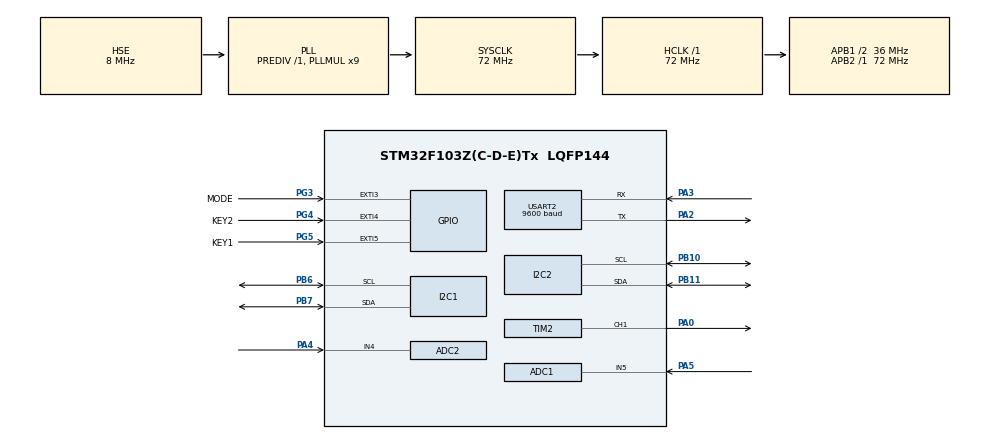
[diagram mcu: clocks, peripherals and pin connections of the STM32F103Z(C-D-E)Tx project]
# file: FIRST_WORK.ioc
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ADC1.Channel-0\#ChannelRegularConversion=ADC_CHANNEL_5
ADC1.ContinuousConvMode=ENABLE
ADC1.NbrOfConversionFlag=1
ADC1.Rank-0\#ChannelRegularConversion=1
ADC1.SamplingTime-0\#ChannelRegularConversion=ADC_SAMPLETIME_1CYCLE_5
ADC1.master=1
ADC2.Channel-2\#ChannelRegularConversion=ADC_CHANNEL_4
ADC2.ContinuousConvMode=ENABLE
ADC2.NbrOfConversionFlag=1
ADC2.Rank-2\#ChannelRegularConversion=1
ADC2.SamplingTime-2\#ChannelRegularConversion=ADC_SAMPLETIME_1CYCLE_5
Dma.Request0=TIM2_CH1
Dma.Request1=USART2_RX
Dma.Request2=USART2_TX
Dma.TIM2_CH1.0.Direction=DMA_MEMORY_TO_PERIPH
Dma.TIM2_CH1.0.Instance=DMA1_Channel5
Dma.TIM2_CH1.0.MemDataAlignment=DMA_MDATAALIGN_HALFWORD
Dma.TIM2_CH1.0.MemInc=DMA_MINC_ENABLE
Dma.TIM2_CH1.0.Mode=DMA_CIRCULAR
Dma.TIM2_CH1.0.PeriphDataAlignment=DMA_PDATAALIGN_HALFWORD
Dma.TIM2_CH1.0.PeriphInc=DMA_PINC_DISABLE
Dma.TIM2_CH1.0.Priority=DMA_PRIORITY_LOW
Dma.USART2_RX.1.Direction=DMA_PERIPH_TO_MEMORY
Dma.USART2_RX.1.Instance=DMA1_Channel6
Dma.USART2_RX.1.MemDataAlignment=DMA_MDATAALIGN_BYTE
Dma.USART2_RX.1.MemInc=DMA_MINC_ENABLE
Dma.USART2_RX.1.Mode=DMA_NORMAL
Dma.USART2_RX.1.PeriphDataAlignment=DMA_PDATAALIGN_BYTE
Dma.USART2_RX.1.PeriphInc=DMA_PINC_DISABLE
Dma.USART2_RX.1.Priority=DMA_PRIORITY_LOW
Dma.USART2_TX.2.Direction=DMA_MEMORY_TO_PERIPH
Dma.USART2_TX.2.Instance=DMA1_Channel7
Dma.USART2_TX.2.MemDataAlignment=DMA_MDATAALIGN_BYTE
Dma.USART2_TX.2.MemInc=DMA_MINC_ENABLE
Dma.USART2_TX.2.Mode=DMA_NORMAL
Dma.USART2_TX.2.PeriphDataAlignment=DMA_PDATAALIGN_BYTE
Dma.USART2_TX.2.PeriphInc=DMA_PINC_DISABLE
Dma.USART2_TX.2.Priority=DMA_PRIORITY_LOW
Mcu.Family=STM32F1
Mcu.Name=STM32F103Z(C-D-E)Tx
Mcu.Package=LQFP144
NVIC.DMA1_Channel5_IRQn=true\:0\:0\:false\:false\:true\:false\:true\:true
NVIC.DMA1_Channel6_IRQn=true\:0\:0\:false\:false\:true\:false\:true\:true
NVIC.DMA1_Channel7_IRQn=true\:0\:0\:false\:false\:true\:false\:true\:true
NVIC.EXTI3_IRQn=true\:14\:0\:true\:false\:true\:true\:true\:true
NVIC.EXTI4_IRQn=true\:14\:0\:true\:false\:true\:true\:true\:true
NVIC.EXTI9_5_IRQn=true\:14\:0\:true\:false\:true\:true\:true\:true
NVIC.PriorityGroup=NVIC_PRIORITYGROUP_4
NVIC.USART2_IRQn=true\:15\:0\:true\:false\:true\:false\:true\:true
OSC_IN.Mode=HSE-External-Oscillator
OSC_IN.Signal=RCC_OSC_IN
OSC_OUT.Mode=HSE-External-Oscillator
OSC_OUT.Signal=RCC_OSC_OUT
PA0-WKUP.Signal=S_TIM2_CH1_ETR
PA13.Mode=Serial_Wire
PA13.Signal=SYS_JTMS-SWDIO
PA14.Mode=Serial_Wire
PA14.Signal=SYS_JTCK-SWCLK
PA2.Mode=Asynchronous
PA2.Signal=USART2_TX
PA3.Mode=Asynchronous
PA3.Signal=USART2_RX
PA4.Signal=ADCx_IN4
PA5.Signal=ADCx_IN5
PB10.Mode=I2C
PB10.Signal=I2C2_SCL
PB11.Mode=I2C
PB11.Signal=I2C2_SDA
PB6.Mode=I2C
PB6.Signal=I2C1_SCL
PB7.Mode=I2C
PB7.Signal=I2C1_SDA
PG3.GPIO_Label=MODE
PG3.GPIO_ModeDefaultEXTI=GPIO_MODE_IT_FALLING
PG3.GPIO_PuPd=GPIO_PULLUP
PG3.Signal=GPXTI3
PG4.GPIO_Label=KEY2
PG4.GPIO_ModeDefaultEXTI=GPIO_MODE_IT_FALLING
PG4.GPIO_PuPd=GPIO_PULLUP
PG4.Signal=GPXTI4
PG5.GPIO_Label=KEY1
PG5.GPIO_ModeDefaultEXTI=GPIO_MODE_IT_RISING_FALLING
PG5.GPIO_PuPd=GPIO_PULLUP
PG5.Signal=GPXTI5
ProjectManager.HeapSize=0x200
ProjectManager.StackSize=0x400
ProjectManager.TargetToolchain=STM32CubeIDE
RCC.ADCPresc=RCC_ADCPCLK2_DIV6
RCC.AHBFreq_Value=72000000
RCC.APB1CLKDivider=RCC_HCLK_DIV2
RCC.APB1Freq_Value=36000000
RCC.APB1TimFreq_Value=72000000
RCC.APB2Freq_Value=72000000
RCC.APB2TimFreq_Value=72000000
RCC.HCLKFreq_Value=72000000
RCC.PLLMUL=RCC_PLL_MUL9
RCC.PLLSourceVirtual=RCC_PLLSOURCE_HSE
RCC.SYSCLKFreq_VALUE=72000000
RCC.SYSCLKSource=RCC_SYSCLKSOURCE_PLLCLK
RCC.USBFreq_Value=72000000
SH.ADCx_IN4.0=ADC2_IN4,IN4
SH.ADCx_IN5.0=ADC1_IN5,IN5
SH.S_TIM2_CH1_ETR.0=TIM2_CH1,PWM Generation1 CH1
TIM2.Channel-PWM\ Generation1\ CH1=TIM_CHANNEL_1
TIM2.Period=89
USART2.BaudRate=9600
USART2.VirtualMode=VM_ASYNC
board=custom

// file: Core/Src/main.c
/* USER CODE BEGIN Header */
/**
 ******************************************************************************
 * @file           : main.c
 * @brief          : Main program body
 ******************************************************************************
 * @attention
 *
 * Copyright (c) 2025 STMicroelectronics.
 * All rights reserved.
 *
 * This software is licensed under terms that can be found in the LICENSE file
 * in the root directory of this software component.
 * If no LICENSE file comes with this software, it is provided AS-IS.
 *
 ******************************************************************************
 */
/* USER CODE END Header */
#include "main.h"
#include "adc.h"
#include "dma.h"
#include "i2c.h"
#include "tim.h"
#include "usart.h"
#include "gpio.h"

/* USER CODE BEGIN Includes */
#include "oled.h"
#include <stdio.h>
#include <stdlib.h>
#include <string.h>
#include <stdint.h>

#include "ws2812_array.h"
#include "aht20.h"
/* USER CODE END Includes */

/* USER CODE BEGIN PV */
// mode
Mode_Select mode_select = FUNCTION_OFF;

int key1_press_trigger_state = 0;
int key1_release_trigger_state = 0;
int key2_trigger_state = 0;
int mode_trigger_state = 0;

// bluetooth
int numbers[5];
uint8_t receive_data[20];
char send_data[100];
extern DMA_HandleTypeDef hdma_usart2_rx;

// oled
char percent_000[] = "                     ";
char percent_025[] = "=======              ";
char percent_050[] = "==============       ";
char percent_075[] = "=====================";

// touch
int touch_state = 0;

// bluetooth buffer
char buffer_1[100];
char buffer_2[100];

// pulse
int pulse_last_toggle_time_1 = 0;
int pulse_last_toggle_time_2 = 0;
int pulse_period_1 = 500;
int pulse_period_2 = 500;
int pulse_period_1_array_index = 0;
int pulse_period_2_array_index = 0;
const int pulse_period_array[3] = {500, 1500, 3000};
int pulse_led_state_1 = 0;
int pulse_led_state_2 = 0;

// breathing
float breathing_brightness = 0.0f;
float breathing_brightness_increment = 0.01f;
uint32_t breathing_period = 500;
int breathing_period_array_index = 0;
const int breathing_period_array[3] = {500, 1500, 3000};
uint32_t breathing_last_breathing_time = 0;

// brightness
int adjustable_brightness = 0;

// rgb_color
LED_Color rgb_led_color = BLACK;

// adc
uint32_t adc_value;
float adc_threshold;
int adc_threshold_index = 0;
float adc_actual_value;
char buffer_3[100];
char buffer_4[100];
const float adc_threshold_array[3] = {0.00, 1.50, 3.00};

// volume
uint32_t volume_value;
float volume_actual_value;
float volume_threshold = 0;
const float volume_threshold_array[3] = {0.00, 1.50, 3.00};
int volume_threshold_index = 0;
float adc_volume_lambda = 1;

char buffer_6[100];
char buffer_7[100];

// temperature
float temperature = 0.0;
float temperature_threshold;
int temperature_threshold_index = 0;
const float temperature_threshold_array[3] = {20.00, 30.00, 60.00};
char buffer_5[100];
char buffer_8[100];

/* USER CODE END PV */

void SystemClock_Config(void);
/* USER CODE BEGIN PFP */

void set_led_color(int number, uint8_t green, uint8_t red, uint8_t blue)
{
  for (int i = 0; i < 8; i++)
  {
    led_strip_data[24 * number + i] = (green & (1 << (7 - i))) ? 60 : 30;
    led_strip_data[24 * number + 8 + i] = (red & (1 << (7 - i))) ? 60 : 30;
    led_strip_data[24 * number + 16 + i] = (blue & (1 << (7 - i))) ? 60 : 30;
  }
}

void set_led_brightness(int number, float brightness)
{

  uint8_t scaled_green = (uint8_t)(brightness * 255);
  uint8_t scaled_red = (uint8_t)(brightness * 255);
  uint8_t scaled_blue = (uint8_t)(brightness * 255);
  set_led_color(number, scaled_green, scaled_red, scaled_blue);
}

void set_led_bright_code(int number, int brightness_code)
{
  float brightness = brightness_code / 3.00;
  set_led_brightness(number, brightness);
}

void split_and_convert(uint8_t *receive_data, int *numbers, uint16_t size)
{
  char str_copy[100];
  strncpy(str_copy, (char *)receive_data, (int)size);
  str_copy[size] = '\0';
  char *token = strtok(str_copy, " ");
  int count = 0;
  while (token != NULL)
  {
    numbers[count] = atoi(token);
    count++;
    token = strtok(NULL, " ");
  }
  while (count < 5)
  {
    numbers[count] = 0;
    count++;
  }
}

void show_progress(int line, int value)
{
  switch (value)
  {
  case 0:
    OLED_PrintString(0, 8 * (line + 1), percent_000, &font8x6, OLED_COLOR_NORMAL);
    break;
  case 1:
    OLED_PrintString(0, 8 * (line + 1), percent_025, &font8x6, OLED_COLOR_NORMAL);
    break;
  case 2:
    OLED_PrintString(0, 8 * (line + 1), percent_050, &font8x6, OLED_COLOR_NORMAL);
    break;
  case 3:
    OLED_PrintString(0, 8 * (line + 1), percent_075, &font8x6, OLED_COLOR_NORMAL);
    break;
  }
}

void mode_init()
{
  OLED_NewFrame();
  set_led_color(1, 0, 0, 0);

  key1_press_trigger_state = 0;
  key1_release_trigger_state = 0;
  key2_trigger_state = 0;
  mode_trigger_state = 0;

  switch (mode_select)
  {
  case FUNCTION_OFF:
    OLED_PrintString(0, 0, "Function Off         ", &font8x6, OLED_COLOR_REVERSED);
    OLED_PrintString(0, 8, "Bluetooth Control    ", &font8x6, OLED_COLOR_NORMAL);

    break;
  case RELEASE_ACTIVATE:
    OLED_PrintString(0, 0, "Release To Activate  ", &font8x6, OLED_COLOR_REVERSED);
    set_led_color(1, 0, 0, 0);
    OLED_PrintString(0, 8, "LED OFF              ", &font8x6, OLED_COLOR_NORMAL);
    break;
  case PRESS_ACTIVATE:
    OLED_PrintString(0, 0, "Press To Activate    ", &font8x6, OLED_COLOR_REVERSED);
    set_led_color(1, 255, 255, 255);
    OLED_PrintString(0, 8, "LED ON               ", &font8x6, OLED_COLOR_NORMAL);
    break;
  case TOUCH_ACTIVATE:
    OLED_PrintString(0, 0, "Touch To Activate    ", &font8x6, OLED_COLOR_REVERSED);
    OLED_PrintString(0, 8, "LED OFF              ", &font8x6, OLED_COLOR_NORMAL);
    touch_state = 0;
    break;
  case PULSE_MODE:
    OLED_PrintString(0, 0, "Pulse Mode           ", &font8x6, OLED_COLOR_REVERSED);
    OLED_PrintString(0, 8, "Period:              ", &font8x6, OLED_COLOR_NORMAL);
    show_progress(1, 1);
    show_progress(2, 1);
    pulse_last_toggle_time_1 = 0;
    pulse_last_toggle_time_2 = 0;

    pulse_led_state_1 = 0;
    pulse_led_state_2 = 0;
    pulse_period_1_array_index = 0;
    pulse_period_2_array_index = 0;
    pulse_period_1 = pulse_period_array[pulse_period_1_array_index];
    pulse_period_2 = pulse_period_array[pulse_period_2_array_index];

    break;
  case BREATHING_MODE:
    OLED_PrintString(0, 0, "Breathing mode       ", &font8x6, OLED_COLOR_REVERSED);
    OLED_PrintString(0, 8, "Period:              ", &font8x6, OLED_COLOR_NORMAL);
    show_progress(1, 1);
    breathing_brightness = 0.0f;
    breathing_brightness_increment = 0.01f;

    breathing_last_breathing_time = 0;
    breathing_period_array_index = 0;
    breathing_period = breathing_period_array[breathing_period_array_index];

    break;
  case ADJUSTABLE_BRIGHTNESS:
    OLED_PrintString(0, 0, "Adjust bright        ", &font8x6, OLED_COLOR_REVERSED);
    OLED_PrintString(0, 8, "Brightness           ", &font8x6, OLED_COLOR_NORMAL);
    show_progress(1, 0);
    adjustable_brightness = 0;

    break;
  case RGB_LED:
    OLED_PrintString(0, 0, "RGB LED              ", &font8x6, OLED_COLOR_REVERSED);
    OLED_PrintString(0, 8, "Color                ", &font8x6, OLED_COLOR_NORMAL);
    OLED_PrintString(0, 16, "LED OFF              ", &font8x6, OLED_COLOR_NORMAL);
    rgb_led_color = BLACK;
    break;
  case POTENTIOMETER:
    OLED_PrintString(0, 0, "POTENTIOMETER        ", &font8x6, OLED_COLOR_REVERSED);

    adc_threshold_index = 0;
    adc_threshold = adc_threshold_array[adc_threshold_index];
    sprintf(buffer_4, "THRESHOLD:%.2f       ", adc_threshold);
    OLED_PrintString(0, 16, buffer_4, &font8x6, OLED_COLOR_NORMAL);
    break;
  case TEMPERATURE:
    OLED_PrintString(0, 0, "TEMPERATURE          ", &font8x6, OLED_COLOR_REVERSED);
    temperature_threshold_index = 0;
    temperature_threshold = temperature_threshold_array[temperature_threshold_index];
    sprintf(buffer_8, "THRESHOLD:%.2f       ", temperature_threshold);
    OLED_PrintString(0, 16, buffer_8, &font8x6, OLED_COLOR_NORMAL);
    break;
  case VOLUME_LED_THRESHOLD:
    OLED_PrintString(0, 0, "VOLUME WITH THRESHOLD", &font8x6, OLED_COLOR_REVERSED);
    volume_threshold_index = 0;
    volume_threshold = volume_threshold_array[volume_threshold_index];
    sprintf(buffer_8, "THRESHOLD:%.2f       ", volume_threshold);
    OLED_PrintString(0, 16, buffer_8, &font8x6, OLED_COLOR_NORMAL);
    break;
  case VOLUME_LED:
    OLED_PrintString(0, 0, "VOLUME LED           ", &font8x6, OLED_COLOR_REVERSED);
    break;
  }
  OLED_ShowFrame();
}

void HAL_UARTEx_RxEventCallback(UART_HandleTypeDef *huart, uint16_t Size)
{
  if (huart == &huart2)
  {
    split_and_convert(receive_data, numbers, Size);

    switch (numbers[0])
    {
    case 0:
      mode_select = FUNCTION_OFF;
      mode_init();
      set_led_color(1, numbers[1], numbers[2], numbers[3]);
      sprintf(buffer_1, "B:%d G:%d R:%d", numbers[1], numbers[2], numbers[3]);
      OLED_PrintString(0, 16, buffer_1, &font8x6, OLED_COLOR_NORMAL);
      break;
    case 4:
      mode_select = PULSE_MODE;
      mode_init();
      pulse_period_1 = numbers[1];
      pulse_period_2 = numbers[2];
      sprintf(buffer_1, "1:%dms", numbers[1]);
      sprintf(buffer_2, "2:%dms", numbers[2]);
      OLED_PrintString(0, 16, buffer_1, &font8x6, OLED_COLOR_NORMAL);
      OLED_PrintString(0, 24, buffer_2, &font8x6, OLED_COLOR_NORMAL);
      break;
    case 5:
      mode_select = BREATHING_MODE;
      mode_init();
      breathing_period = numbers[1];
      sprintf(buffer_1, "%dms", numbers[1]);
      OLED_PrintString(0, 16, buffer_1, &font8x6, OLED_COLOR_NORMAL);
      break;
    case 6:
      mode_select = ADJUSTABLE_BRIGHTNESS;
      mode_init();
      set_led_brightness(1, numbers[1] / 100.00);
      sprintf(buffer_1, "%.2f %%", numbers[1] / 100.00);
      OLED_PrintString(0, 16, buffer_1, &font8x6, OLED_COLOR_NORMAL);

      break;
    case 8:

      mode_select = POTENTIOMETER;
      mode_init();
      adc_threshold = numbers[1] / 100.00;
      sprintf(buffer_4, "THRESHOLD:%.2f       ", adc_threshold);
      OLED_PrintString(0, 16, buffer_4, &font8x6, OLED_COLOR_NORMAL);
      OLED_ShowFrame();

      break;
    case 9:
      mode_select = TEMPERATURE;
      mode_init();
      temperature_threshold = numbers[1] / 100.00;
      sprintf(buffer_8, "THRESHOLD:%.2f       ", temperature_threshold);
      OLED_PrintString(0, 16, buffer_8, &font8x6, OLED_COLOR_NORMAL);
      OLED_ShowFrame();
      break;
    case 11:
      mode_select = VOLUME_LED_THRESHOLD;
      mode_init();
      volume_threshold = numbers[1] / 100.00;
      sprintf(buffer_7, "THRESHOLD:%.2f       ", volume_threshold);
      OLED_PrintString(0, 16, buffer_7, &font8x6, OLED_COLOR_NORMAL);
      OLED_ShowFrame();
      break;
    }

    sprintf(send_data, "%d %d %d %d %d", numbers[0], numbers[1], numbers[2], numbers[3], numbers[4]);
    OLED_ShowFrame();
    HAL_UART_Transmit_DMA(&huart2, (uint8_t *)send_data, strlen(send_data));

    HAL_UARTEx_ReceiveToIdle_DMA(&huart2, receive_data, sizeof(receive_data));
    __HAL_DMA_DISABLE_IT(&hdma_usart2_rx, DMA_IT_HT);
  }
}

/* USER CODE END PFP */

int main(void)
{

  /* MCU Configuration--------------------------------------------------------*/

  /* Reset of all peripherals, Initializes the Flash interface and the Systick. */
  HAL_Init();

  /* Configure the system clock */
  SystemClock_Config();

  /* Initialize all configured peripherals */
  MX_GPIO_Init();
  MX_DMA_Init();
  MX_TIM2_Init();
  MX_I2C1_Init();
  MX_I2C2_Init();
  MX_USART2_UART_Init();
  MX_ADC1_Init();
  MX_ADC2_Init();
  /* USER CODE BEGIN 2 */

  // init ws2812
  HAL_Delay(100);
  HAL_TIM_PWM_Start_DMA(&htim2, TIM_CHANNEL_1, (uint32_t *)led_strip_data, sizeof(led_strip_data));
  HAL_Delay(100);
  for (int i = 0; i < 72; i++)
  {
    led_strip_data[i] = 30;
  }
  set_led_color(1, 0, 0, 255);
  HAL_Delay(200);
  set_led_color(1, 0, 0, 0);

  // oled_init
  OLED_Init();
  OLED_NewFrame();
  // OLED_PrintString(0, 0, "test message    ", &font8x6, OLED_COLOR_REVERSED);
  OLED_ShowFrame();

  AHT20_Init();

  // init usart
  HAL_UARTEx_ReceiveToIdle_DMA(&huart2, receive_data, sizeof(receive_data));
  __HAL_DMA_DISABLE_IT(&hdma_usart2_rx, DMA_IT_HT);

  // init adc
  HAL_ADCEx_Calibration_Start(&hadc1);
  HAL_ADC_Start(&hadc1);
  HAL_ADC_PollForConversion(&hadc1, HAL_MAX_DELAY);
  adc_value = HAL_ADC_GetValue(&hadc1);
  adc_actual_value = (adc_value / 4095.0) * 3.3;

  HAL_ADCEx_Calibration_Start(&hadc2);
  HAL_ADC_Start(&hadc2);
  HAL_ADC_PollForConversion(&hadc2, HAL_MAX_DELAY);
  volume_value = HAL_ADC_GetValue(&hadc2);
  volume_actual_value = (volume_value / 4095.0) * 3.3;

  mode_init();
  /* USER CODE END 2 */

  /* Infinite loop */
  /* USER CODE BEGIN WHILE */
  while (1)
  {
    // function play
    switch (mode_select)
    {
    case PULSE_MODE:
    {
      uint32_t current_time = HAL_GetTick();
      uint8_t green_value = 0;
      uint8_t blue_value = 0;

      if (current_time - pulse_last_toggle_time_1 >= pulse_period_1 / 2)
      {
        pulse_last_toggle_time_1 = current_time;
        pulse_led_state_1 = !pulse_led_state_1;
      }
      green_value = pulse_led_state_1 ? 255 : 0;

      if (current_time - pulse_last_toggle_time_2 >= pulse_period_2 / 2)
      {
        pulse_last_toggle_time_2 = current_time;
        pulse_led_state_2 = !pulse_led_state_2;
      }
      blue_value = pulse_led_state_2 ? 255 : 0;

      set_led_color(1, 0, green_value, blue_value);
      break;
    }
    case BREATHING_MODE:
    {
      uint32_t current_time = HAL_GetTick();
      if (current_time - breathing_last_breathing_time >= (breathing_period / 100))
      {
        breathing_last_breathing_time = current_time;
        breathing_brightness += breathing_brightness_increment;
        if (breathing_brightness >= 0.5f)
        {
          breathing_brightness = 0.5f;
          breathing_brightness_increment = -breathing_brightness_increment;
        }
        else if (breathing_brightness <= 0.0f)
        {
          breathing_brightness = 0.0f;
          breathing_brightness_increment = -breathing_brightness_increment;
        }
        set_led_brightness(1, breathing_brightness);
      }
      break;
    case POTENTIOMETER:
      adc_value = HAL_ADC_GetValue(&hadc1);
      adc_actual_value = (adc_value / 4095.0) * 3.3;
      sprintf(buffer_3, "ADC VALUE:%.2f       ", adc_actual_value);

      OLED_PrintString(0, 8, buffer_3, &font8x6, OLED_COLOR_NORMAL);

      if (adc_actual_value >= adc_threshold)
      {
        OLED_PrintString(0, 24, "LED ON               ", &font8x6, OLED_COLOR_NORMAL);
        set_led_color(1, 255, 255, 255);
      }
      else
      {
        OLED_PrintString(0, 24, "LED OFF              ", &font8x6, OLED_COLOR_NORMAL);
        set_led_color(1, 0, 0, 0);
      }
      OLED_ShowFrame();
      break;
    case TEMPERATURE:
      AHT20_Measure();
      temperature = AHT20_Temperature();
      sprintf(buffer_5, "%.2fC", temperature);
      if (temperature >= temperature_threshold)
      {
        OLED_PrintString(0, 24, "LED ON               ", &font8x6, OLED_COLOR_NORMAL);
        set_led_color(1, 255, 255, 255);
      }
      else
      {
        OLED_PrintString(0, 24, "LED OFF              ", &font8x6, OLED_COLOR_NORMAL);
        set_led_color(1, 0, 0, 0);
      }
      OLED_PrintString(0, 8, buffer_5, &font8x6, OLED_COLOR_NORMAL);
      OLED_ShowFrame();
      break;
    case VOLUME_LED_THRESHOLD:
      volume_value = HAL_ADC_GetValue(&hadc2);
      volume_actual_value = ((volume_value / 4095.0) * 3.3 *12) +20;
      sprintf(buffer_6, "VOLUME VALUE:%.2f       ", volume_actual_value);

      OLED_PrintString(0, 8, buffer_6, &font8x6, OLED_COLOR_NORMAL);

      if (volume_actual_value >= volume_threshold)
      {
        OLED_PrintString(0, 24, "LED ON               ", &font8x6, OLED_COLOR_NORMAL);
        set_led_color(1, 255, 255, 255);
      }
      else
      {
        OLED_PrintString(0, 24, "LED OFF              ", &font8x6, OLED_COLOR_NORMAL);
        set_led_color(1, 0, 0, 0);
      }
      OLED_ShowFrame();
      break;
    case VOLUME_LED:
      volume_value = HAL_ADC_GetValue(&hadc2);
      volume_actual_value = (volume_value / 4095.0) * 3.3 * 12 +20;
      sprintf(buffer_6, "VOLUME VALUE:%.2f       ", volume_actual_value);

      OLED_PrintString(0, 8, buffer_6, &font8x6, OLED_COLOR_NORMAL);
      set_led_brightness(1, volume_actual_value / 3.30);
      OLED_ShowFrame();
      break;
    }
    }

    if (mode_trigger_state == 1)
    {
      mode_select = (mode_select + 1) % MAX_VALUE_MODE;
      mode_init();
    }
    if (key1_press_trigger_state == 1)
    {
      key1_press_trigger_state = 0;
      switch (mode_select)
      {
      case PRESS_ACTIVATE:
        set_led_color(1, 0, 0, 0);
        OLED_PrintString(0, 8, "LED OFF              ", &font8x6, OLED_COLOR_NORMAL);
        break;
      case RELEASE_ACTIVATE:
        set_led_color(1, 255, 255, 255);
        OLED_PrintString(0, 8, "LED ON               ", &font8x6, OLED_COLOR_NORMAL);
        break;

      case TOUCH_ACTIVATE:

        if (touch_state)
        {
          set_led_color(1, 0, 0, 0);
          OLED_PrintString(0, 8, "LED OFF              ", &font8x6, OLED_COLOR_NORMAL);
        }
        else
        {
          set_led_color(1, 255, 255, 255);
          OLED_PrintString(0, 8, "LED ON               ", &font8x6, OLED_COLOR_NORMAL);
        }
        touch_state = !touch_state;
        break;
      case PULSE_MODE:
        pulse_period_1_array_index++;
        pulse_period_1_array_index = pulse_period_1_array_index % 3;
        pulse_period_1 = pulse_period_array[pulse_period_1_array_index];
        show_progress(1, pulse_period_1_array_index + 1);
      case BREATHING_MODE:
        breathing_period_array_index++;
        breathing_period_array_index = breathing_period_array_index % 3;
        breathing_period = breathing_period_array[breathing_period_array_index];
        show_progress(1, breathing_period_array_index + 1);
        break;
      case RGB_LED:
        rgb_led_color = (rgb_led_color + 1) % MAX_VALUE_COLOR;
        switch (rgb_led_color)
        {
        case 0:
          set_led_color(1, 0, 0, 0);
          OLED_PrintString(0, 16, "LED OFF              ", &font8x6, OLED_COLOR_NORMAL);
          break;
        case 1:
          set_led_color(1, 0, 0, 255);
          OLED_PrintString(0, 16, "BLUE COLOR           ", &font8x6, OLED_COLOR_NORMAL);
          break;
        case 2:
          set_led_color(1, 255, 0, 0);
          OLED_PrintString(0, 16, "GREEN COLOR          ", &font8x6, OLED_COLOR_NORMAL);
          break;
        case 3:
          set_led_color(1, 0, 255, 0);
          OLED_PrintString(0, 16, "RED COLOR            ", &font8x6, OLED_COLOR_NORMAL);
          break;
        case 4:
          set_led_color(1, 255, 255, 255);
          OLED_PrintString(0, 16, "WHITE COLOR          ", &font8x6, OLED_COLOR_NORMAL);
          break;
        }
        break;
      case ADJUSTABLE_BRIGHTNESS:
        adjustable_brightness = (adjustable_brightness + 1) % 4;
        set_led_bright_code(1, adjustable_brightness);
        show_progress(1, adjustable_brightness);
        break;
      case POTENTIOMETER:
        adc_threshold_index = (adc_threshold_index + 1) % 3;
        adc_threshold = adc_threshold_array[adc_threshold_index];
        sprintf(buffer_4, "THRESHOLD:%.2f       ", adc_threshold);
        OLED_PrintString(0, 16, buffer_4, &font8x6, OLED_COLOR_NORMAL);
        break;
      case TEMPERATURE:
        temperature_threshold_index = (temperature_threshold_index + 1) % 3;
        temperature_threshold = temperature_threshold_array[temperature_threshold_index];
        sprintf(buffer_8, "THRESHOLD:%.2f       ", temperature_threshold);
        OLED_PrintString(0, 16, buffer_8, &font8x6, OLED_COLOR_NORMAL);
        break;
      case VOLUME_LED_THRESHOLD:
        volume_threshold_index = (volume_threshold_index + 1) % 3;
        volume_threshold = volume_threshold_array[volume_threshold_index];
        sprintf(buffer_7, "THRESHOLD:%.2f       ", volume_threshold);
        OLED_PrintString(0, 16, buffer_7, &font8x6, OLED_COLOR_NORMAL);
        break;
      }
      OLED_ShowFrame();
    }
    if (key1_release_trigger_state == 1)
    {
      key1_release_trigger_state = 0;
      switch (mode_select)
      {
      case PRESS_ACTIVATE:
        set_led_color(1, 255, 255, 255);
        OLED_PrintString(0, 8, "LED ON               ", &font8x6, OLED_COLOR_NORMAL);
        break;
      case RELEASE_ACTIVATE:
        set_led_color(1, 0, 0, 0);
        OLED_PrintString(0, 8, "LED OFF              ", &font8x6, OLED_COLOR_NORMAL);
        break;
      }
      OLED_ShowFrame();
    }

    if (key2_trigger_state == 1)
    {
      key2_trigger_state = 0;
      switch (mode_select)
      {
      case PULSE_MODE:
        pulse_period_2_array_index++;
        pulse_period_2_array_index = pulse_period_2_array_index % 3;
        pulse_period_2 = pulse_period_array[pulse_period_2_array_index];
        show_progress(2, pulse_period_2_array_index + 1);
        break;
      }

      OLED_ShowFrame();
    }

    /* USER CODE END WHILE */

  }
}

void SystemClock_Config(void)
{
  RCC_OscInitTypeDef RCC_OscInitStruct = {0};
  RCC_ClkInitTypeDef RCC_ClkInitStruct = {0};
  RCC_PeriphCLKInitTypeDef PeriphClkInit = {0};

  /** Initializes the RCC Oscillators according to the specified parameters
  * in the RCC_OscInitTypeDef structure.
  */
  RCC_OscInitStruct.OscillatorType = RCC_OSCILLATORTYPE_HSE;
  RCC_OscInitStruct.HSEState = RCC_HSE_ON;
  RCC_OscInitStruct.HSEPredivValue = RCC_HSE_PREDIV_DIV1;
  RCC_OscInitStruct.HSIState = RCC_HSI_ON;
  RCC_OscInitStruct.PLL.PLLState = RCC_PLL_ON;
  RCC_OscInitStruct.PLL.PLLSource = RCC_PLLSOURCE_HSE;
  RCC_OscInitStruct.PLL.PLLMUL = RCC_PLL_MUL9;
  if (HAL_RCC_OscConfig(&RCC_OscInitStruct) != HAL_OK)
  {
    Error_Handler();
  }

  /** Initializes the CPU, AHB and APB buses clocks
  */
  RCC_ClkInitStruct.ClockType = RCC_CLOCKTYPE_HCLK|RCC_CLOCKTYPE_SYSCLK
                              |RCC_CLOCKTYPE_PCLK1|RCC_CLOCKTYPE_PCLK2;
  RCC_ClkInitStruct.SYSCLKSource = RCC_SYSCLKSOURCE_PLLCLK;
  RCC_ClkInitStruct.AHBCLKDivider = RCC_SYSCLK_DIV1;
  RCC_ClkInitStruct.APB1CLKDivider = RCC_HCLK_DIV2;
  RCC_ClkInitStruct.APB2CLKDivider = RCC_HCLK_DIV1;

  if (HAL_RCC_ClockConfig(&RCC_ClkInitStruct, FLASH_LATENCY_2) != HAL_OK)
  {
    Error_Handler();
  }
  PeriphClkInit.PeriphClockSelection = RCC_PERIPHCLK_ADC;
  PeriphClkInit.AdcClockSelection = RCC_ADCPCLK2_DIV6;
  if (HAL_RCCEx_PeriphCLKConfig(&PeriphClkInit) != HAL_OK)
  {
    Error_Handler();
  }
}

void Error_Handler(void)
{
  __disable_irq();
  while (1)
  {
  }
}
